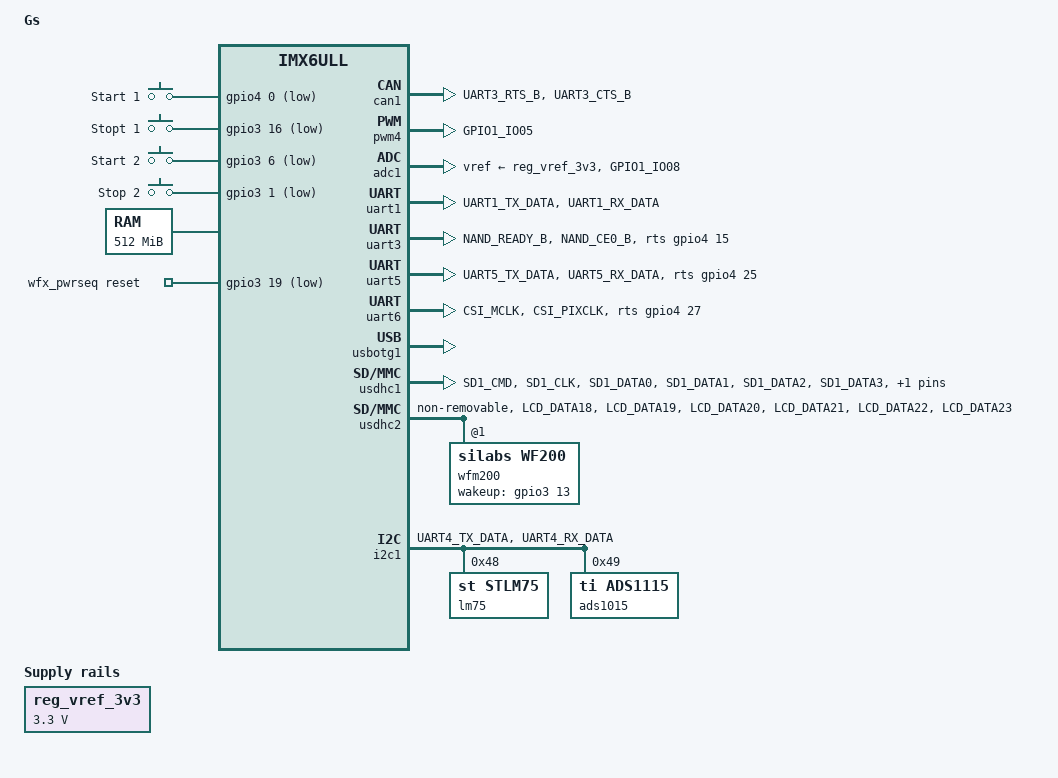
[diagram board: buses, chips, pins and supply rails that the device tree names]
/*
 * Copyright (C) 2016 Freescale Semiconductor, Inc.
 *
 * This program is free software; you can redistribute it and/or modify
 * it under the terms of the GNU General Public License version 2 as
 * published by the Free Software Foundation.
 */

/dts-v1/;

#include <dt-bindings/input/input.h>
#include "imx6ull.dtsi"

/ {
	model = "Gs";
	compatible = "wirelessroad,stream-imx6ull", "fsl,imx6ull";

	aliases {
		cpu0 = &cpu0;
		can1 = &can1;
		clks = &clks;
		ecspi3 = &ecspi3;
		gpc = &gpc;
		gpmi = &gpmi;
		iomuxc = &iomuxc;
		pwm4 = &pwm4;
		adc1 = &adc1;
		usbotg1 = &usbotg1;
		usdhc1 = &usdhc1;
		usdhc2 = &usdhc2;
		wdog1 = &wdog1;
		uart3 = &uart3;
		uart5 = &uart5;
		uart6 = &uart6;
		i2c1 = &i2c1;
	};

	chosen {
		stdout-path = &uart1;
		bootargs = "console=ttymxc0,115200 rootwait fixrtc quiet";
	};

	gpio-keys {
		compatible="gpio-keys";
		label="Front panel buttons";

		start_1 {
			label = "Start 1";
			linux,code = <BTN_0>;
			gpios = <&gpio4 0 GPIO_ACTIVE_LOW>;
		};

		stop_1 {
			label = "Stopt 1";
			linux,code = <BTN_1>;
			gpios = <&gpio3 16 GPIO_ACTIVE_LOW>;
		};

		start_2 {
			label = "Start 2";
			linux,code = <BTN_2>;
			gpios = <&gpio3 6 GPIO_ACTIVE_LOW>;
		};

		stop_2 {
			label = "Stop 2";
			linux,code = <BTN_3>;
			gpios = <&gpio3 1 GPIO_ACTIVE_LOW>;
		};
	};

	memory@80000000 {
        device_type = "memory";
		reg = <0x80000000 0x20000000>;
	};

	regulators {
		compatible = "simple-bus";
		#address-cells = <1>;
		#size-cells = <0>;

		reg_vref_3v3: regulator@0 {
			compatible = "regulator-fixed";
			regulator-name = "vref-3v3";
			regulator-min-microvolt = <3300000>;
			regulator-max-microvolt = <3300000>;
		};
	};

	wfx_pwrseq: wfx_pwrseq {
		compatible = "mmc-pwrseq-simple";
		pinctrl-names = "default";
		pinctrl-0 = <&pinctrl_wfx_reset>;
		reset-gpios = <&gpio3 19 GPIO_ACTIVE_LOW>;
	};

	@aips3  {
		compatible = "fsl,aips-bus", "simple-bus";
		#address-cells = <1>;
		#size-cells = <1>;
		reg = <0x02200000 0x100000>;
		ranges;

		rngb: rngb@02284000 {
			compatible = "fsl,imx6sl-rng", "fsl,imx-rng", "imx-rng";
			reg = <0x02284000 0x4000>;
			interrupts = <GIC_SPI 6 IRQ_TYPE_LEVEL_HIGH>;
			clocks =  <&clks IMX6UL_CLK_DUMMY>;
		};
	};
};

#include "wr_cpu.dtsi"
#include "wr_partitions.dtsi"
#include "wr_usb.dtsi"
#include "wr_watchdog.dtsi"


&clks {
	assigned-clocks = <&clks IMX6UL_CLK_PLL4_AUDIO_DIV>;
	assigned-clock-rates = <786432000>;
};


&can1 {
	pinctrl-names = "default";
	pinctrl-0 = <&pinctrl_flexcan0>;
	status = "okay";
};


&gpc {
	fsl,cpu_pupscr_sw2iso = <0x1>;
	fsl,cpu_pupscr_sw = <0x0>;
	fsl,cpu_pdnscr_iso2sw = <0x1>;
	fsl,cpu_pdnscr_iso = <0x1>;
	fsl,ldo-bypass = <0>; /* DCDC, ldo-enable */
};

&iomuxc_snvs {
 	pinctrl-names = "default_snvs";
	default_snvs {};
 };

&iomuxc {
	pinctrl-names = "default";
	pinctrl-0 = <&pinctrl_hog_1>;
	imx6ul-evk {
		pinctrl_hog_1: hoggrp-1 {
			fsl,pins = <
				MX6UL_PAD_UART1_RTS_B__GPIO1_IO19	0x17059 /* SD1 CD */
				MX6UL_PAD_NAND_DQS__GPIO4_IO16		0x000010B0 /* TEMP IRQ */
				MX6UL_PAD_NAND_RE_B__GPIO4_IO00		0x00017040 /* Start 1 Pull up 47k */
				MX6UL_PAD_LCD_DATA11__GPIO3_IO16	0x00017040 /* Stop 1 Pull up 47k */
				MX6UL_PAD_LCD_DATA01__GPIO3_IO06	0x00017040 /* Start 2 Pull up 47k */
				MX6UL_PAD_LCD_ENABLE__GPIO3_IO01	0x00017040 /* Stop 2 Pull up 47k */
				MX6UL_PAD_NAND_WE_B__GPIO4_IO01		0x000010B0 /* BUZZ */
				MX6UL_PAD_NAND_WP_B__GPIO4_IO11		0x000010B0 /* K6 */
				MX6UL_PAD_NAND_CE1_B__GPIO4_IO14	0x000010B0 /* K5 */
				MX6UL_PAD_NAND_DATA07__GPIO4_IO09	0x000010B0 /* K4 */
				MX6UL_PAD_NAND_DATA06__GPIO4_IO08	0x000010B0 /* K3 */
				MX6UL_PAD_NAND_DATA05__GPIO4_IO07	0x000010B0 /* K2 */
				MX6UL_PAD_GPIO1_IO05__GPIO1_IO05	0x000010B0 /* K1 */
				MX6UL_PAD_GPIO1_IO09__GPIO1_IO09	0x000010B0 /* Warm */
				MX6UL_PAD_GPIO1_IO04__GPIO1_IO04	0x000010B0 /* Light */
				MX6UL_PAD_GPIO1_IO00__GPIO1_IO00	0x000010B0 /* Light 2 */
				MX6UL_PAD_GPIO1_IO01__GPIO1_IO01	0x000010B0 /* Warm 2 */
			>;
		};

		pinctrl_adc1: adc1grp {
			fsl,pins = <
				MX6UL_PAD_GPIO1_IO08__GPIO1_IO08        0xb0
			/*	MX6UL_PAD_GPIO1_IO09__GPIO1_IO09        0xb0*/
			>;
		};

		pinctrl_ecspi3_0: ecspi3grp-0 {
			fsl,pins = <
				MX6UL_PAD_UART2_CTS_B__ECSPI3_MOSI	0x110b1
				MX6UL_PAD_UART2_RTS_B__ECSPI3_MISO	0x110b1
				MX6UL_PAD_UART2_RX_DATA__ECSPI3_SCLK	0x110b1
				MX6UL_PAD_UART2_TX_DATA__GPIO1_IO20	0x10b0
			>;
		};

		pinctrl_i2c1: i2c1grp {
			fsl,pins = <
				MX6UL_PAD_UART4_TX_DATA__I2C1_SCL	0x4001b8b0
				MX6UL_PAD_UART4_RX_DATA__I2C1_SDA	0x4001b8b0
			>;
		};

		pinctrl_flexcan0: flexcan0grp{
			fsl,pins = <
				MX6UL_PAD_UART3_RTS_B__FLEXCAN1_RX	0x1b020
				MX6UL_PAD_UART3_CTS_B__FLEXCAN1_TX	0x1b020
			>;
		};

		pinctrl_pwm4: pwm4grp {
			fsl,pins = <
				MX6UL_PAD_GPIO1_IO05__PWM4_OUT   0x110b0
			>;
		};

		pinctrl_uart1: uart1grp {
			fsl,pins = <
				MX6UL_PAD_UART1_TX_DATA__UART1_DCE_TX 0x1b0b1
				MX6UL_PAD_UART1_RX_DATA__UART1_DCE_RX 0x1b0b1
			>;
		};

		pinctrl_uart3: uart3grp {
			fsl,pins = <
				MX6UL_PAD_NAND_READY_B__UART3_DCE_TX 0x1b0b1
				MX6UL_PAD_NAND_CE0_B__UART3_DCE_RX   0x1b0b1
			>;
		};

		pinctrl_uart5: uart5grp {
			fsl,pins = <
				MX6UL_PAD_UART5_TX_DATA__UART5_DCE_TX 0x1b0b1
				MX6UL_PAD_UART5_RX_DATA__UART5_DCE_RX 0x1b0b1
			>;
		};

		pinctrl_uart6: uart6grp {
			fsl,pins = <
				MX6UL_PAD_CSI_MCLK__UART6_DCE_TX   0x1b0b1
				MX6UL_PAD_CSI_PIXCLK__UART6_DCE_RX 0x1b0b1
			>;
		};

		pinctrl_usdhc1: usdhc1grp {
			fsl,pins = <
				MX6UL_PAD_SD1_CMD__USDHC1_CMD     0x17059
				MX6UL_PAD_SD1_CLK__USDHC1_CLK     0x10071
				MX6UL_PAD_SD1_DATA0__USDHC1_DATA0 0x17059
				MX6UL_PAD_SD1_DATA1__USDHC1_DATA1 0x17059
				MX6UL_PAD_SD1_DATA2__USDHC1_DATA2 0x17059
				MX6UL_PAD_SD1_DATA3__USDHC1_DATA3 0x17059
			>;
		};

		pinctrl_usdhc1_100mhz: usdhc1grp100mhz {
			fsl,pins = <
				MX6UL_PAD_SD1_CMD__USDHC1_CMD     0x170b9
				MX6UL_PAD_SD1_CLK__USDHC1_CLK     0x100b9
				MX6UL_PAD_SD1_DATA0__USDHC1_DATA0 0x170b9
				MX6UL_PAD_SD1_DATA1__USDHC1_DATA1 0x170b9
				MX6UL_PAD_SD1_DATA2__USDHC1_DATA2 0x170b9
				MX6UL_PAD_SD1_DATA3__USDHC1_DATA3 0x170b9
			>;
		};

		pinctrl_usdhc1_200mhz: usdhc1grp200mhz {
			fsl,pins = <
				MX6UL_PAD_SD1_CMD__USDHC1_CMD     0x170f9
				MX6UL_PAD_SD1_CLK__USDHC1_CLK     0x100f9
				MX6UL_PAD_SD1_DATA0__USDHC1_DATA0 0x170f9
				MX6UL_PAD_SD1_DATA1__USDHC1_DATA1 0x170f9
				MX6UL_PAD_SD1_DATA2__USDHC1_DATA2 0x170f9
				MX6UL_PAD_SD1_DATA3__USDHC1_DATA3 0x170f9
			>;
		};

		pinctrl_usdhc2: usdhc2grp {
			fsl,pins = <
				MX6UL_PAD_LCD_DATA18__USDHC2_CMD        0x1b0b0
				MX6UL_PAD_LCD_DATA19__USDHC2_CLK        0x100b0
				MX6UL_PAD_LCD_DATA20__USDHC2_DATA0      0x1b0b0
				MX6UL_PAD_LCD_DATA21__USDHC2_DATA1      0x1b0b0
				MX6UL_PAD_LCD_DATA22__USDHC2_DATA2      0x1b0b0
				MX6UL_PAD_LCD_DATA23__USDHC2_DATA3      0x1b0b0
			>;
		};
		
		pinctrl_wfx_irq: wfx_irq_grp {
			fsl,pins = <
				/* W_IRQ */
				MX6UL_PAD_LCD_DATA06__GPIO3_IO11        0x1b0b0
			>;
		};

		pinctrl_wfx_reset: wfx_reset_grp {
			fsl,pins = <
				/* W_RESET */
				MX6UL_PAD_LCD_DATA14__GPIO3_IO19        0x1b0b0
			>;
		};

		pinctrl_wfx_wakeup: wfx_wakeup_grp {
			fsl,pins = <
				/* W_UP */
				MX6UL_PAD_LCD_DATA08__GPIO3_IO13        0x130b0
			>;
		};

		pinctrl_wdog: wdoggrp {
			fsl,pins = <
				MX6UL_PAD_LCD_RESET__WDOG1_WDOG_ANY    0x30b0
			>;
		};

	};
};

&pwm4 {
	pinctrl-names = "default";
	pinctrl-0 = <&pinctrl_pwm4>;
	status = "okay";
};

&adc1 {
	pinctrl-names = "default";
	pinctrl-0 = <&pinctrl_adc1>;
	vref-supply = <&reg_vref_3v3>;
	num-channels = <1>;
	adc-ch-list = <8>;
	status = "okay";
};

&uart1 {
	pinctrl-names = "default";
	pinctrl-0 = <&pinctrl_uart1>;
	status = "okay";
};

&uart3 {
	pinctrl-names = "default";
	pinctrl-0 = <&pinctrl_uart3>;
	rts-gpios = <&gpio4 15 GPIO_ACTIVE_HIGH>;
	linux,rs485-enabled-at-boot-time;
	status = "okay";
};

&uart5 {
	pinctrl-names = "default";
	pinctrl-0 = <&pinctrl_uart5>;
	rts-gpios = <&gpio4 25 GPIO_ACTIVE_HIGH>;
	status = "okay";
};

&uart6 {
	pinctrl-names = "default";
	pinctrl-0 = <&pinctrl_uart6>;
	rts-gpios = <&gpio4 27 GPIO_ACTIVE_HIGH>;
	status = "okay";
};

&usbotg1 {
	maximum-speed = "full-speed";
	status = "okay";
};

&usdhc1 {
	pinctrl-names = "default";
	pinctrl-0 = <&pinctrl_usdhc1>;
	cd-gpios = <&gpio1 19 GPIO_ACTIVE_LOW>;
	keep-power-in-suspend;
	enable-sdio-wakeup;
	status = "okay";
};

&usdhc2 {  /* Wifi SDIO */
	pinctrl-names = "default";
	pinctrl-0 = <&pinctrl_usdhc2>;
	no-1-8-v;
	non-removable;
	keep-power-in-suspend;
	mmc-pwrseq = <&wfx_pwrseq>;
	status = "okay";
	wfm200: wifi@1 {
		compatible = "silabs,wf200";
		reg = <1>;
		pinctrl-names = "default";
		pinctrl-0 = <&pinctrl_wfx_irq &pinctrl_wfx_wakeup>;
		wakeup-gpios = <&gpio3 13 GPIO_ACTIVE_HIGH>;
		interrupts = <&gpio3 11 IRQ_TYPE_EDGE_RISING>;
	};
};

&i2c1 {
	clock_frequency = <100000>;
	pinctrl-names = "default";
	pinctrl-0 = <&pinctrl_i2c1>;
	status = "okay";

	lm75: lm75@48 {
		compatible = "st,stlm75";
		reg = <0x48>;
		status = "okay";
	};

	ads1015: adc@49 {
		compatible = "ti,ads1115";
		reg = <0x49>;
		status = "okay";
		#address-cells = <1>;
		#size-cells = <0>;

		channel@0 {
			reg = <0>;
		};

		channel@1 {
			reg = <1>;
		};
	};
};
